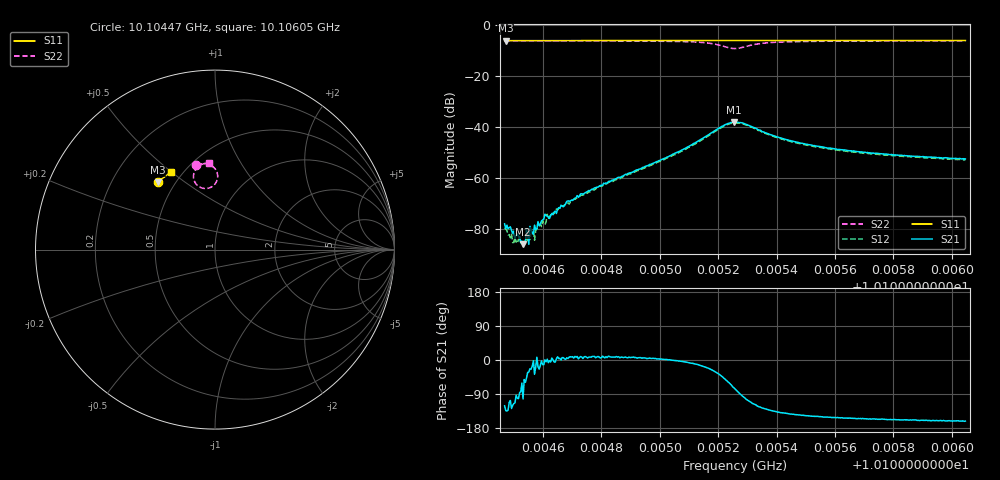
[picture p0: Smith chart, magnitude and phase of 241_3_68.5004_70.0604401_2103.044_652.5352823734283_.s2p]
#  HZ  S  RI  R  50.00
! Rohde & Schwarz Vector Network Analyzer
! Rohde-Schwarz,ZNB20-2Port,1311601062101988,3.16
! Created: UTC 3/20/2024, 5:14:34 PM
! freq[Hz]  re:S11  im:S11  re:S21  im:S21  re:S12  im:S12  re:S22  im:S22
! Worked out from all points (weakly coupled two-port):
!   401 points, 10.10447 GHz to 10.10605 GHz, reference 50 ohm
!   highest |S21| = -38.05 dB at 10.10525 GHz (marker M1); lowest = -86.0 dB at 10.10453 GHz (marker M2)
!   lowest |S11| = -6.2 dB at 10.10447 GHz (marker M3), VSWR 2.94, Z = 20.2 + j20 ohm
!   |S11| at or under -10 dB: nowhere
!   |S22| runs from -9.3 to -6.3 dB; largest |S21 - S12| = 0.0016
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1.0104469e10  -0.3188 0.3748  -6.53e-05 -0.000109  -6.91e-05 -8e-05  -0.1052 0.4728
1.0104473e10  -0.3185 0.3749  -7.05e-05 -7.42e-05  -5.66e-05 -8.38e-05  -0.105 0.4728
1.0104501e10  -0.3174 0.3761  -3.88e-05 -8.32e-05  -9.73e-06 -5.37e-05  -0.1027 0.4733
1.0104532e10  -0.3159 0.3775  -1.11e-05 -4.89e-05  6.1e-06 -4.59e-05  -0.1003 0.4739
1.0104572e10  -0.3142 0.379  9.47e-05 -7.31e-05  5.99e-05 -9.66e-06  -0.097 0.4747
1.0104579e10  -0.3137 0.3794  0.000101 1.26e-05  0.000102 -3.78e-07  -0.0964 0.4747
1.0104603e10  -0.3126 0.3802  0.000153 -3.36e-05  0.000129 -2.39e-06  -0.0944 0.475
1.0104607e10  -0.3125 0.3805  0.000196 1.01e-06  0.000122 7.67e-06  -0.0941 0.4752
1.0104627e10  -0.3116 0.3814  0.000185 -1.71e-05  0.000181 2.35e-05  -0.0924 0.4756
1.010465e10  -0.3105 0.3822  0.000244 3.7e-05  0.000234 2.36e-05  -0.0902 0.476
1.010469e10  -0.3086 0.3839  0.00035 4.44e-05  0.0003 7.13e-05  -0.0866 0.4766
1.0104733e10  -0.3068 0.3856  0.000488 6.53e-05  0.000451 0.000106  -0.0825 0.4772
1.0104997e10  -0.2942 0.3958  0.00219 0.00012  0.00209 0.000272  -0.047 0.4777
1.0105155e10  -0.2864 0.4017  0.00607 -0.00199  0.00594 -0.00135  0.00244 0.448
1.0105218e10  -0.2832 0.4035  0.00729 -0.00779  0.00777 -0.00671  0.00956 0.3815
1.0105254e10  -0.2817 0.4046  0.00362 -0.012  0.00468 -0.0111  -0.0381 0.3419
1.0105258e10  -0.2816 0.4047  0.00292 -0.0121  0.004 -0.0113  -0.0457 0.3407
1.0105325e10  -0.2788 0.4073  -0.00443 -0.0086  -0.00351 -0.00864  -0.1193 0.3966
1.0105415e10  -0.2747 0.411  -0.00459 -0.00398  -0.00405 -0.00422  -0.1057 0.4499
1.0105522e10  -0.2693 0.4147  -0.00372 -0.00229  -0.00337 -0.00253  -0.0854 0.4681
1.0105786e10  -0.256 0.424  -0.00266 -0.00111  -0.00244 -0.00131  -0.0543 0.4808
1.0106046e10  -0.2428 0.4325  -0.00224 -0.000767  -0.00209 -0.000932  -0.0322 0.485
